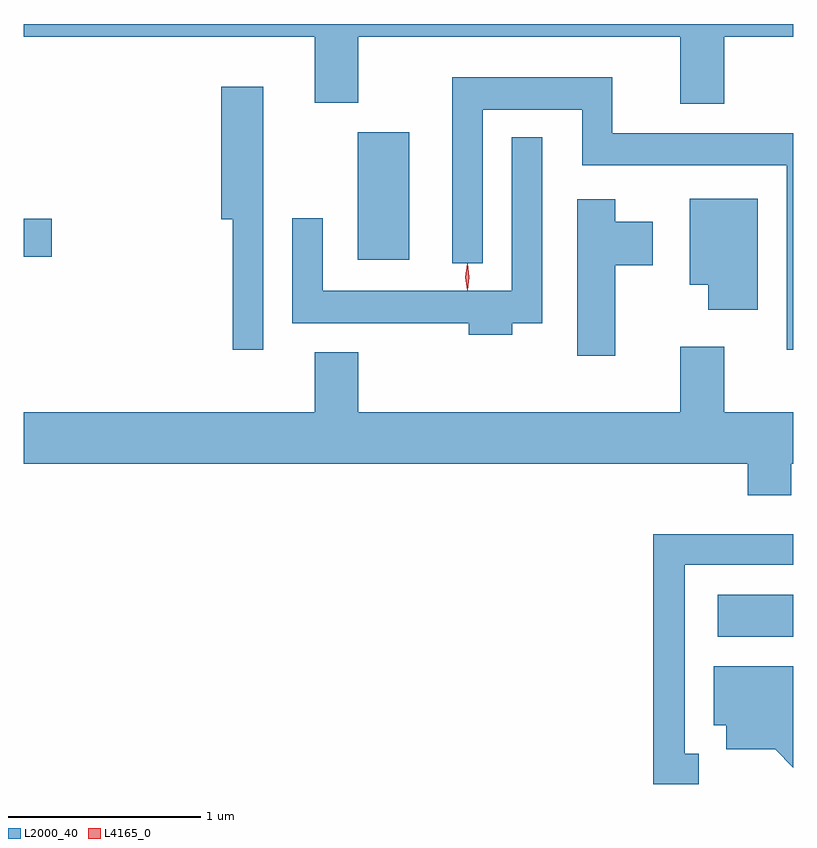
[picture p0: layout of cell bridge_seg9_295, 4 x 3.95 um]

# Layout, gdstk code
import gdstk
lib = gdstk.Library(unit=1e-6, precision=1e-09)
def R(c, l, rs):  # rectangles x0, y0, x1, y1
    for r in rs: c.add(gdstk.rectangle(r[:2], r[2:], *l))
def P(c, l, *ps):  # polygons
    for p in ps: c.add(gdstk.Polygon(p, *l))
L2000_40 = (2000, 40)
L4165_0 = (4165, 0)

bridge_seg9_295 = lib.new_cell('bridge_seg9_295')
R(bridge_seg9_295, L2000_40, [(988.956,2075.276,989.349,2075.494), (987.086,2077.236,987.354,2077.899), (985.349,2077.251,985.494,2077.449)])
P(bridge_seg9_295, L2000_40, [(988.989,2078.396),(989.349,2078.396),(989.349,2078.461),(985.349,2078.461),(985.349,2078.396),(986.861,2078.396),(986.861,2078.051),(987.089,2078.051),(987.089,2078.396),(988.761,2078.396),(988.761,2078.046),(988.989,2078.046)],
  [(989.349,2077.894),(988.409,2077.894),(988.409,2078.184),(987.576,2078.184),(987.576,2077.218),(987.734,2077.218),(987.734,2078.016),(988.251,2078.016),(988.251,2077.726),(989.316,2077.726),(989.316,2076.768),(989.349,2076.768)],
  [(986.594,2078.134),(986.376,2078.134),(986.376,2077.446),(986.436,2077.446),(986.436,2076.768),(986.594,2076.768)],
  [(987.889,2076.906),(988.044,2076.906),(988.044,2077.873),(987.886,2077.873),(987.886,2077.074),(986.904,2077.074),(986.904,2077.452),(986.746,2077.452),(986.746,2076.906),(987.661,2076.906),(987.661,2076.846),(987.889,2076.846)],
  [(989.164,2077.554),(988.811,2077.554),(988.811,2077.106),(988.906,2077.106),(988.906,2076.976),(989.164,2076.976)],
  [(988.424,2077.206),(988.619,2077.206),(988.619,2077.434),(988.424,2077.434),(988.424,2077.549),(988.226,2077.549),(988.226,2076.736),(988.424,2076.736)],
  [(989.339,2076.176),(989.349,2076.176),(989.349,2076.444),(988.989,2076.444),(988.989,2076.784),(988.761,2076.784),(988.761,2076.444),(987.089,2076.444),(987.089,2076.754),(986.861,2076.754),(986.861,2076.444),(985.349,2076.444),(985.349,2076.176),(989.111,2076.176),(989.111,2076.011),(989.339,2076.011)],
  [(988.858,2074.669),(988.784,2074.669),(988.784,2075.651),(989.349,2075.651),(989.349,2075.809),(988.621,2075.809),(988.621,2074.511),(988.858,2074.511)],
  [(989.349,2075.124),(988.936,2075.124),(988.936,2074.816),(989.001,2074.816),(989.001,2074.691),(989.254,2074.691),(989.349,2074.596)])
P(bridge_seg9_295, L4165_0, [(987.654,2077.077),(987.645,2077.146),(987.654,2077.216),(987.655,2077.216),(987.656,2077.216),(987.665,2077.146),(987.656,2077.077),(987.655,2077.077)],
  [(987.656,2077.079),(987.656,2077.08),(987.646,2077.146),(987.656,2077.212),(987.656,2077.213),(987.656,2077.212),(987.666,2077.146),(987.657,2077.08)])

lib.write_gds('bridge_seg9_295.gds')
